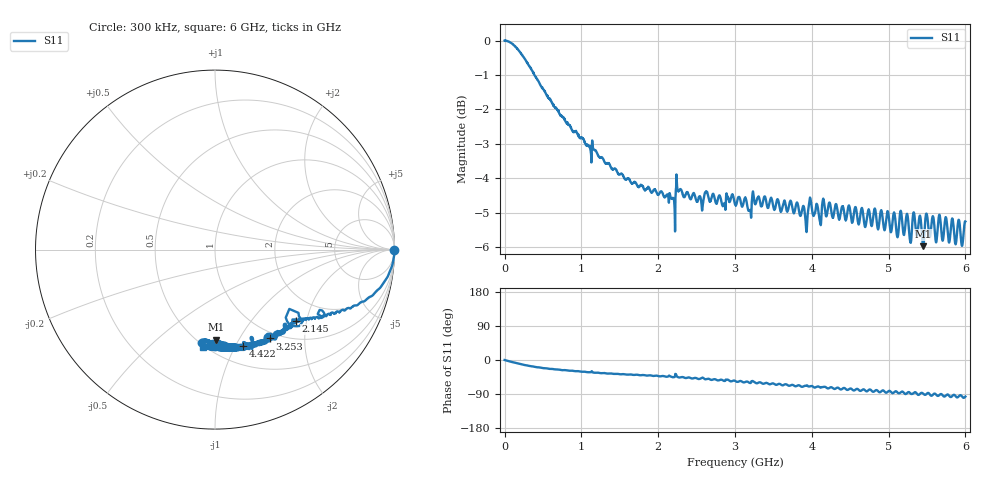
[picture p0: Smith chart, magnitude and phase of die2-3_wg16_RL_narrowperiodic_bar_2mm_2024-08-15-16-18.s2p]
!Keysight Technologies,P9374A,MY57304198,A.17.20.09
!Date: Thursday, August 15, 2024 16:18:31
!Correction: S11(C  1-Port  )
!S21(C  1-Port  )
!S12(Off)
!S22(Off)
!S2P File: Measurements: S11, S21, S12, S22:
# Hz S  dB  R 50
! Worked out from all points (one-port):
!   6000 points, 300 kHz to 6 GHz, reference 50 ohm
!   lowest |S11| = -6.0 dB at 5.452 GHz (marker M1), VSWR 3.02, Z = 30.1 - j40.5 ohm
!   |S11| at or under -10 dB: nowhere
!   S11 on the Smith chart (normalised r, x): 300 kHz: open; 2.145 GHz: 1.39, -1.72; 3.253 GHz: 0.91, -1.37; 4.422 GHz: 0.68, -1.08; 6 GHz: 0.49, -0.76
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300000  -0.00 -0.0  -200.00 45.0  -200.00 45.0  -200.00 45.0
2.363275e8  -0.45 -12.3  -200.00 45.0  -200.00 45.0  -200.00 45.0
4.083476e8  -1.06 -18.7  -200.00 45.0  -200.00 45.0  -200.00 45.0
6.573767e8  -1.93 -25.0  -200.00 45.0  -200.00 45.0  -200.00 45.0
1.000417e9  -2.83 -30.9  -200.00 45.0  -200.00 45.0  -200.00 45.0
1.498475e9  -3.89 -37.5  -200.00 45.0  -200.00 45.0  -200.00 45.0
2.000533e9  -4.48 -42.2  -200.00 45.0  -200.00 45.0  -200.00 45.0
2.14455e9  -4.45 -41.5  -200.00 45.0  -200.00 45.0  -200.00 45.0
2.190556e9  -4.58 -45.4  -200.00 45.0  -200.00 45.0  -200.00 45.0
2.251563e9  -4.33 -44.6  -200.00 45.0  -200.00 45.0  -200.00 45.0
3.00065e9  -4.76 -55.0  -200.00 45.0  -200.00 45.0  -200.00 45.0
3.183671e9  -4.95 -59.7  -200.00 45.0  -200.00 45.0  -200.00 45.0
3.252679e9  -4.69 -58.2  -200.00 45.0  -200.00 45.0  -200.00 45.0
3.870752e9  -4.95 -70.8  -200.00 45.0  -200.00 45.0  -200.00 45.0
3.927758e9  -5.51 -68.0  -200.00 45.0  -200.00 45.0  -200.00 45.0
4.000767e9  -4.87 -68.7  -200.00 45.0  -200.00 45.0  -200.00 45.0
4.421816e9  -5.01 -73.8  -200.00 45.0  -200.00 45.0  -200.00 45.0
5.000883e9  -5.09 -82.0  -200.00 45.0  -200.00 45.0  -200.00 45.0
5.451936e9  -5.98 -89.3  -200.00 45.0  -200.00 45.0  -200.00 45.0
5.495941e9  -5.04 -89.2  -200.00 45.0  -200.00 45.0  -200.00 45.0
5.957995e9  -5.96 -96.8  -200.00 45.0  -200.00 45.0  -200.00 45.0
6e9  -5.26 -96.5  -200.00 45.0  -200.00 45.0  -200.00 45.0
